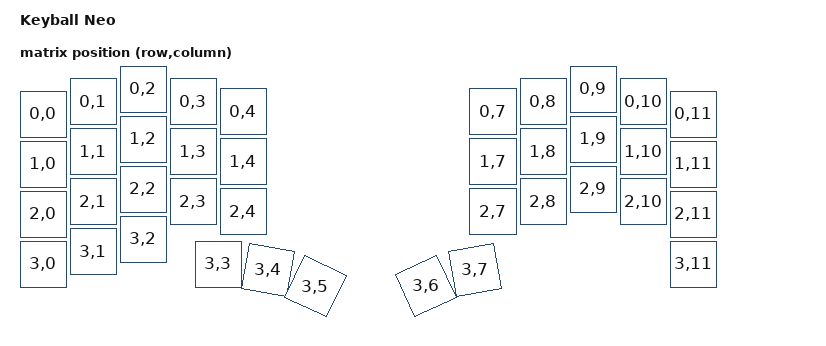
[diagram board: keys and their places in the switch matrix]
/*
 * Copyright (c) 2020 The ZMK Contributors
 *
 * SPDX-License-Identifier: MIT
 */

/dts-v1/;
#include <nordic/nrf52840_qiaa.dtsi>
#include <common/nordic/nrf52840_uf2_boot_mode.dtsi>
#include <dt-bindings/zmk/matrix_transform.h>
#include <physical_layouts.dtsi>

/ {
    model = "Keyball Neo";
    compatible = "yangxing,keyball_neo39";

    chosen {
        zephyr,code-partition = &code_partition;
        zephyr,sram = &sram0;
        zephyr,flash = &flash0;
        zmk,battery = &vbatt;
    };

    default_transform: keymap_transform_0 {
        compatible = "zmk,matrix-transform";
        columns = <12>;
        rows = <4>;
        map = <
            RC(0,0) RC(0,1) RC(0,2) RC(0,3) RC(0,4)                    RC(0,7)  RC(0,8) RC(0,9) RC(0,10) RC(0,11) 
            RC(1,0) RC(1,1) RC(1,2) RC(1,3) RC(1,4)                    RC(1,7)  RC(1,8) RC(1,9) RC(1,10) RC(1,11) 
            RC(2,0) RC(2,1) RC(2,2) RC(2,3) RC(2,4)                    RC(2,7)  RC(2,8) RC(2,9) RC(2,10) RC(2,11) 
            RC(3,0) RC(3,1) RC(3,2) RC(3,3) RC(3,4) RC(3,5)    RC(3,6) RC(3,7)                           RC(3,11)  
        >;
    };



 matrix_physical_layout: matrix_physical_layout {
 	 compatible = "zmk,physical-layout";
 	 display-name = "Keyball Neo";
 	
	 transform = <&default_transform>;
	 	keys  //                     w   h    x    y     rot    rx    ry
            = <&key_physical_attrs 100 100    0   50       0     0     0>
            , <&key_physical_attrs 100 100  100   25       0     0     0>
            , <&key_physical_attrs 100 100  200    0       0     0     0>
            , <&key_physical_attrs 100 100  300   25       0     0     0>
            , <&key_physical_attrs 100 100  400   45       0     0     0>
            , <&key_physical_attrs 100 100  900   45       0     0     0>
            , <&key_physical_attrs 100 100 1000   25       0     0     0>
            , <&key_physical_attrs 100 100 1100    0       0     0     0>
            , <&key_physical_attrs 100 100 1200   25       0     0     0>
            , <&key_physical_attrs 100 100 1300   50       0     0     0>
            , <&key_physical_attrs 100 100    0  150       0     0     0>
            , <&key_physical_attrs 100 100  100  125       0     0     0>
            , <&key_physical_attrs 100 100  200  100       0     0     0>
            , <&key_physical_attrs 100 100  300  125       0     0     0>
            , <&key_physical_attrs 100 100  400  145       0     0     0>
            , <&key_physical_attrs 100 100  900  145       0     0     0>
            , <&key_physical_attrs 100 100 1000  125       0     0     0>
            , <&key_physical_attrs 100 100 1100  100       0     0     0>
            , <&key_physical_attrs 100 100 1200  125       0     0     0>
            , <&key_physical_attrs 100 100 1300  150       0     0     0>
            , <&key_physical_attrs 100 100    0  250       0     0     0>
            , <&key_physical_attrs 100 100  100  225       0     0     0>
            , <&key_physical_attrs 100 100  200  200       0     0     0>
            , <&key_physical_attrs 100 100  300  225       0     0     0>
            , <&key_physical_attrs 100 100  400  245       0     0     0>
            , <&key_physical_attrs 100 100  900  245       0     0     0>
            , <&key_physical_attrs 100 100 1000  225       0     0     0>
            , <&key_physical_attrs 100 100 1100  200       0     0     0>
            , <&key_physical_attrs 100 100 1200  225       0     0     0>
            , <&key_physical_attrs 100 100 1300  250       0     0     0>
            , <&key_physical_attrs 100 100    0  350       0     0     0>
            , <&key_physical_attrs 100 100  100  325       0     0     0>
            , <&key_physical_attrs 100 100  200  300       0     0     0>
            , <&key_physical_attrs 100 100  350  350       0     0     0>
            , <&key_physical_attrs 100 100  530  250    1000 (-100) (-100)>
            , <&key_physical_attrs 100 100  710   50    2500 (-100) (-100)>
            , <&key_physical_attrs 100 100  450  730 (-2500) (-100) (-100)>
            , <&key_physical_attrs 100 100  760  530 (-1000) (-100) (-100)>
            , <&key_physical_attrs 100 100 1300  350       0     0     0>
            ;
  };

    vbatt: vbatt {
        compatible = "zmk,battery-voltage-divider";
				io-channels = <&adc 5>;
				output-ohms = <2000000>;
				full-ohms = <(2000000+ 806000)>;
    };
};

&adc {
    status = "okay";
};
&gpiote {
    status = "okay";
};

&gpio0 {
    status = "okay";
};

&gpio1 {
    status = "okay";
};

zephyr_udc0:&usbd {
		status = "okay";
};



&flash0 {
    /*
     * For more information, see:
     * http://docs.zephyrproject.org/latest/devices/dts/flash_partitions.html
     */
    partitions {
        compatible = "fixed-partitions";
        #address-cells = <1>;
        #size-cells = <1>;

        sd_partition: partition@0 {
            reg = <0x00000000 0x00026000>;
        };
        code_partition: partition@26000 {
            reg = <0x00026000 0x000c6000>;
        };

        /*
         * The flash starting at 0x000ec000 and ending at
         * 0x000f3fff is reserved for use by the application.
         */

        /*
         * Storage partition will be used by FCB/LittleFS/NVS
         * if enabled.
         */
        storage_partition: partition@ec000 {
            reg = <0x000ec000 0x00008000>;
        };

        boot_partition: partition@f4000 {
            reg = <0x000f4000 0x0000c000>;
        };
    };
};

/ {
    // Trackball input listener. The sensor sits on the right half and the
    // right half is the central, so the ball is consumed locally, with no
    // split relay involved; keyball_neo39_right.dts attaches and enables it.
    trackball_listener: trackball_listener {
        compatible = "zmk,input-listener";
        status = "disabled";

        // The runtime input processors DYA Studio configures
        // (speed, rotation, axis snap, ...).
        input-processors = <&mouse_runtime_input_processor &scroll_runtime_input_processor>;

        // when the scroll layer is active, the trackball acts as a mouse wheel
        scroller {
            layers = <5>;
            input-processors = <&scroll_runtime_input_processor>;
        };

        // when the snipe layer is active, the trackball moves more slowly
        snipe {
            layers = <6>;
            input-processors = <&zip_xy_scaler 1 3 &mouse_runtime_input_processor>;
        };
    };

    // Trackball marker for the DYA Studio layout preview
    // (zmk-feature-module-physical-layout). Coordinates and size use the same
    // 0.01 unit scale as the key physical attributes above: the ball sits in
    // the gap between the two halves. Adjust if it looks off.
    trackball_layout: trackball_layout {
        compatible = "cormoran,physical-layout-trackball";
        display-name = "Trackball";
        size = <140>;
        x = <700>;
        y = <250>;

        linked-device-identifiers = "mouse", "scroll";
        linked-subsystems = "cormoran_rip", "cormoran_rip";
    };
};

// Must come after the matrix transform above: the runtime input processor
// definitions pull in dt-bindings/zmk/keys.h, which redefines RC(keycode) for
// modifiers and would otherwise clash with the RC(row, col) matrix macros.
#include <input/processors.dtsi>
#include <input/processors/runtime-input-processor.dtsi>
